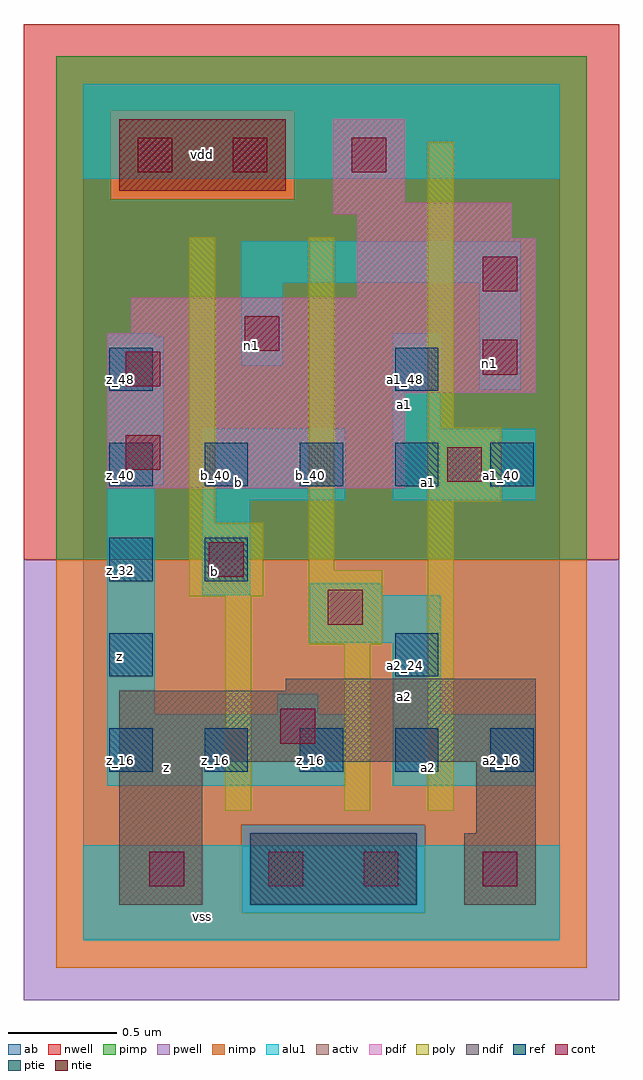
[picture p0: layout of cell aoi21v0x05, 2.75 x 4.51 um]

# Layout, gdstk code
import gdstk
lib = gdstk.Library(unit=1e-6, precision=2.5e-09)
def R(c, l, rs):  # rectangles x0, y0, x1, y1
    for r in rs: c.add(gdstk.rectangle(r[:2], r[2:], *l))
def A(c, l, x, y, w, h, nx, ny, dx, dy):  # array of equal rectangles
    R(c, l, [(x+i*dx, y+j*dy, x+i*dx+w, y+j*dy+h) for i in range(nx) for j in range(ny)])
ndif = (3, 0)
pdif = (4, 0)
ntie = (5, 0)
ptie = (6, 0)
ref = (24, 0)
cont = (25, 0)
pwell = (41, 0)
nwell = (42, 0)
activ = (43, 0)
pimp = (44, 0)
nimp = (45, 0)
poly = (46, 0)
alu1 = (49, 0)
ab = (63, 0)

aoi21v0x05 = lib.new_cell('aoi21v0x05')
R(aoi21v0x05, ndif, [(0.165,0.165,0.55,0.825), (1.76,0.165,2.09,0.495), (1.815,0.495,2.09,0.825), (0.165,0.825,2.09,1.155), (0.935,1.155,2.09,1.21)])
R(aoi21v0x05, pdif, [(0.11,2.09,1.485,2.53), (0.11,2.53,2.09,2.805), (0.22,2.805,2.09,2.97), (1.265,2.97,2.09,3.245), (1.265,3.245,1.98,3.355), (1.155,3.355,1.98,3.41), (1.155,3.41,1.485,3.795)])
R(aoi21v0x05, ntie, [(0.165,3.465,0.935,3.795)])
R(aoi21v0x05, ptie, [(0.77,0.165,1.54,0.495)])
A(aoi21v0x05, ref, 0.12, 0.78, 0.2, 0.2, 5, 2, 0.44, 1.32)
R(aoi21v0x05, ref, [(0.12,1.22,0.32,1.42), (1.44,1.22,1.64,1.42), (0.12,1.66,0.32,1.86), (0.56,1.66,0.76,1.86), (0.12,2.54,0.32,2.74), (1.44,2.54,1.64,2.74)])
R(aoi21v0x05, cont, [(0.305,0.25,0.465,0.41), (0.855,0.25,1.015,0.41), (1.295,0.25,1.455,0.41), (1.845,0.25,2.005,0.41), (0.91,0.91,1.07,1.07), (1.13,1.46,1.29,1.62), (0.58,1.68,0.74,1.84), (1.68,2.12,1.84,2.28), (0.195,2.175,0.355,2.335), (0.195,2.56,0.355,2.72), (1.845,2.615,2.005,2.775), (0.745,2.725,0.905,2.885), (1.845,3,2.005,3.16), (0.25,3.55,0.41,3.71), (0.69,3.55,0.85,3.71), (1.24,3.55,1.4,3.71)])
R(aoi21v0x05, pwell, [(-0.275,-0.275,2.475,1.76)])
R(aoi21v0x05, nwell, [(-0.275,1.76,2.475,4.235)])
R(aoi21v0x05, activ, [(0.165,0.165,0.55,0.825), (0.77,0.165,1.54,0.495), (1.76,0.165,2.09,0.495), (1.815,0.495,2.09,0.825), (0.165,0.825,2.09,1.155), (0.935,1.155,2.09,1.21), (0.11,2.09,1.485,2.53), (0.11,2.53,2.09,2.805), (0.22,2.805,2.09,2.97), (1.265,2.97,2.09,3.245), (1.265,3.245,1.98,3.355), (1.155,3.355,1.98,3.41), (1.155,3.41,1.485,3.795), (0.165,3.465,0.935,3.795)])
R(aoi21v0x05, pimp, [(0.73,0.125,1.58,0.535), (-0.125,1.76,2.325,3.425), (-0.125,3.425,0.125,3.835), (0.975,3.425,2.325,3.835), (-0.125,3.835,2.325,4.085)])
R(aoi21v0x05, nimp, [(-0.125,-0.125,2.325,0.125), (-0.125,0.125,0.73,0.535), (1.58,0.125,2.325,0.535), (-0.125,0.535,2.325,1.76), (0.125,3.425,0.975,3.835)])
R(aoi21v0x05, poly, [(0.655,0.6,0.775,1.59), (1.205,0.6,1.325,1.37), (1.59,0.6,1.71,2.03), (1.04,1.37,1.38,1.71), (0.49,1.59,0.83,1.93), (1.04,1.71,1.16,3.25), (0.49,1.93,0.61,3.25), (1.59,2.03,1.93,2.37), (1.59,2.37,1.71,3.69)])
R(aoi21v0x05, alu1, [(0,0,2.2,0.44), (0.11,0.715,1.21,1.045), (1.43,0.715,2.09,1.045), (0.11,1.045,0.33,2.105), (0.895,1.045,1.085,1.14), (1.43,1.045,1.65,1.375), (1.045,1.375,1.65,1.595), (0.55,1.595,0.77,2.035), (1.045,1.595,1.375,1.65), (0.55,2.035,1.21,2.365), (1.43,2.035,2.09,2.365), (0.11,2.105,0.37,2.79), (1.43,2.365,1.65,2.805), (1.83,2.545,2.02,3.04), (0.73,2.655,0.92,3.04), (0.11,2.79,0.33,2.805), (0.73,3.04,2.02,3.23), (0,3.52,2.2,3.96)])
R(aoi21v0x05, ab, [(0,0,2.2,3.96)])
aoi21v0x05.add(gdstk.Label('vss', (0.55,0.11), layer=49, texttype=0))
aoi21v0x05.add(gdstk.Label('a2', (1.595,0.7975), layer=49, texttype=0))
aoi21v0x05.add(gdstk.Label('z', (0.385,0.7975), layer=49, texttype=0))
aoi21v0x05.add(gdstk.Label('a2', (1.485,1.1275), layer=49, texttype=0))
aoi21v0x05.add(gdstk.Label('b', (0.605,1.705), layer=49, texttype=0))
aoi21v0x05.add(gdstk.Label('a1', (1.595,2.1175), layer=49, texttype=0))
aoi21v0x05.add(gdstk.Label('b', (0.715,2.1175), layer=49, texttype=0))
aoi21v0x05.add(gdstk.Label('z', (0.165,1.31), layer=49, texttype=0))
aoi21v0x05.add(gdstk.Label('n1', (1.8775,2.6675), layer=49, texttype=0))
aoi21v0x05.add(gdstk.Label('a1', (1.485,2.475), layer=49, texttype=0))
aoi21v0x05.add(gdstk.Label('n1', (0.7775,2.75), layer=49, texttype=0))
aoi21v0x05.add(gdstk.Label('vdd', (0.55,3.63), layer=49, texttype=0))
aoi21v0x05.add(gdstk.Label('b_40', (0.61,2.15), layer=24, texttype=0))
aoi21v0x05.add(gdstk.Label('z_48', (0.17,2.59), layer=24, texttype=0))
aoi21v0x05.add(gdstk.Label('z_40', (0.17,2.15), layer=24, texttype=0))
aoi21v0x05.add(gdstk.Label('z_32', (0.17,1.71), layer=24, texttype=0))
aoi21v0x05.add(gdstk.Label('z_24', (0.17,1.27), layer=24, texttype=0))
aoi21v0x05.add(gdstk.Label('z_16', (0.17,0.83), layer=24, texttype=0))
aoi21v0x05.add(gdstk.Label('a1_40', (1.93,2.15), layer=24, texttype=0))
aoi21v0x05.add(gdstk.Label('a2_16', (1.93,0.83), layer=24, texttype=0))
aoi21v0x05.add(gdstk.Label('a1_48', (1.49,2.59), layer=24, texttype=0))
aoi21v0x05.add(gdstk.Label('a1_40', (1.49,2.15), layer=24, texttype=0))
aoi21v0x05.add(gdstk.Label('a2_24', (1.49,1.27), layer=24, texttype=0))
aoi21v0x05.add(gdstk.Label('a2_16', (1.49,0.83), layer=24, texttype=0))
aoi21v0x05.add(gdstk.Label('b_40', (1.05,2.15), layer=24, texttype=0))
aoi21v0x05.add(gdstk.Label('z_16', (1.05,0.83), layer=24, texttype=0))
aoi21v0x05.add(gdstk.Label('b_32', (0.61,1.71), layer=24, texttype=0))
aoi21v0x05.add(gdstk.Label('z_16', (0.61,0.83), layer=24, texttype=0))

lib.write_gds('aoi21v0x05.gds')
